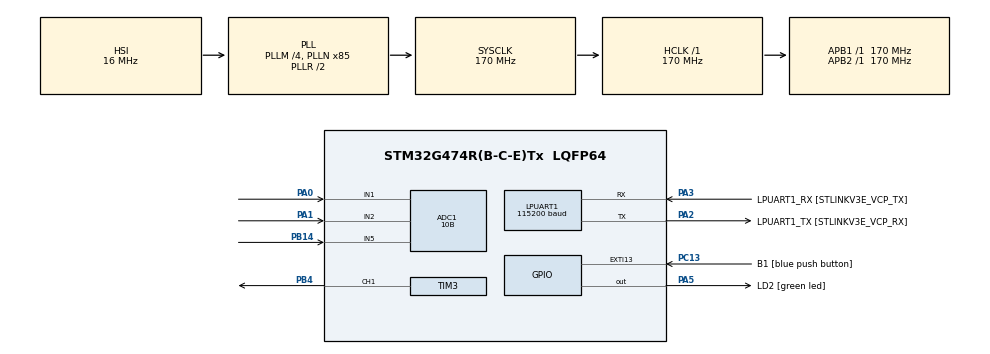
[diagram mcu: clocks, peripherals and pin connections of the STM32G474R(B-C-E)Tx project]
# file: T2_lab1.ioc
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ADC1.Channel-0\#ChannelRegularConversion=ADC_CHANNEL_1
ADC1.Channel-1\#ChannelRegularConversion=ADC_CHANNEL_2
ADC1.Channel-2\#ChannelRegularConversion=ADC_CHANNEL_5
ADC1.ClockPrescaler=ADC_CLOCK_SYNC_PCLK_DIV4
ADC1.ContinuousConvMode=ENABLE
ADC1.DMAContinuousRequests=ENABLE
ADC1.NbrOfConversion=3
ADC1.NbrOfConversionFlag=1
ADC1.OffsetNumber-0\#ChannelRegularConversion=ADC_OFFSET_NONE
ADC1.OffsetNumber-1\#ChannelRegularConversion=ADC_OFFSET_NONE
ADC1.OffsetNumber-2\#ChannelRegularConversion=ADC_OFFSET_NONE
ADC1.Rank-0\#ChannelRegularConversion=1
ADC1.Rank-1\#ChannelRegularConversion=2
ADC1.Rank-2\#ChannelRegularConversion=3
ADC1.Resolution=ADC_RESOLUTION_10B
ADC1.SamplingTime-0\#ChannelRegularConversion=ADC_SAMPLETIME_2CYCLES_5
ADC1.SamplingTime-1\#ChannelRegularConversion=ADC_SAMPLETIME_2CYCLES_5
ADC1.SamplingTime-2\#ChannelRegularConversion=ADC_SAMPLETIME_2CYCLES_5
ADC1.master=1
Dma.ADC1.0.Direction=DMA_PERIPH_TO_MEMORY
Dma.ADC1.0.EventEnable=DISABLE
Dma.ADC1.0.Instance=DMA1_Channel1
Dma.ADC1.0.MemDataAlignment=DMA_MDATAALIGN_HALFWORD
Dma.ADC1.0.MemInc=DMA_MINC_ENABLE
Dma.ADC1.0.Mode=DMA_CIRCULAR
Dma.ADC1.0.PeriphDataAlignment=DMA_PDATAALIGN_HALFWORD
Dma.ADC1.0.PeriphInc=DMA_PINC_DISABLE
Dma.ADC1.0.Polarity=HAL_DMAMUX_REQ_GEN_RISING
Dma.ADC1.0.Priority=DMA_PRIORITY_LOW
Dma.ADC1.0.RequestNumber=1
Dma.ADC1.0.SignalID=NONE
Dma.ADC1.0.SyncEnable=DISABLE
Dma.ADC1.0.SyncPolarity=HAL_DMAMUX_SYNC_NO_EVENT
Dma.ADC1.0.SyncRequestNumber=1
Dma.ADC1.0.SyncSignalID=NONE
Dma.Request0=ADC1
LPUART1.BaudRate=115200
LPUART1.WordLength=UART_WORDLENGTH_8B
Mcu.Family=STM32G4
Mcu.Name=STM32G474R(B-C-E)Tx
Mcu.Package=LQFP64
NVIC.ADC1_2_IRQn=true\:0\:0\:false\:false\:true\:true\:true\:true
NVIC.DMA1_Channel1_IRQn=true\:0\:0\:false\:false\:true\:false\:true\:true
NVIC.EXTI15_10_IRQn=true\:0\:0\:false\:false\:true\:true\:true\:true
NVIC.PriorityGroup=NVIC_PRIORITYGROUP_4
NVIC.TIM3_IRQn=true\:0\:0\:false\:false\:true\:true\:true\:true
PA0.Mode=IN1-Single-Ended
PA0.Signal=ADC1_IN1
PA1.Mode=IN2-Single-Ended
PA1.Signal=ADC1_IN2
PA13.GPIO_Label=T_SWDIO
PA13.Mode=Serial_Wire
PA13.Signal=SYS_JTMS-SWDIO
PA14.GPIO_Label=T_SWCLK
PA14.Mode=Serial_Wire
PA14.Signal=SYS_JTCK-SWCLK
PA2.GPIO_Label=LPUART1_TX [STLINKV3E_VCP_RX]
PA2.Mode=Asynchronous
PA2.Signal=LPUART1_TX
PA3.GPIO_Label=LPUART1_RX [STLINKV3E_VCP_TX]
PA3.Mode=Asynchronous
PA3.Signal=LPUART1_RX
PA5.GPIO_Label=LD2 [green led]
PA5.Signal=GPIO_Output
PB14.Mode=IN5-Single-Ended
PB14.Signal=ADC1_IN5
PB3.GPIO_Label=T_SWO
PB3.Signal=SYS_JTDO-SWO
PB4.Signal=S_TIM3_CH1
PC13.GPIO_Label=B1 [blue push button]
PC13.Signal=GPXTI13
PC14-OSC32_IN.Mode=LSE-External-Oscillator
PC14-OSC32_IN.Signal=RCC_OSC32_IN
PC15-OSC32_OUT.Mode=LSE-External-Oscillator
PC15-OSC32_OUT.Signal=RCC_OSC32_OUT
PF0-OSC_IN.Mode=HSE-External-Oscillator
PF0-OSC_IN.Signal=RCC_OSC_IN
PF1-OSC_OUT.Mode=HSE-External-Oscillator
PF1-OSC_OUT.Signal=RCC_OSC_OUT
ProjectManager.HeapSize=0x200
ProjectManager.StackSize=0x400
ProjectManager.TargetToolchain=STM32CubeIDE
RCC.ADC12Freq_Value=170000000
RCC.ADC345Freq_Value=170000000
RCC.AHBFreq_Value=170000000
RCC.APB1Freq_Value=170000000
RCC.APB1TimFreq_Value=170000000
RCC.APB2Freq_Value=170000000
RCC.APB2TimFreq_Value=170000000
RCC.CortexFreq_Value=170000000
RCC.EXTERNAL_CLOCK_VALUE=12288000
RCC.HCLKFreq_Value=170000000
RCC.HSE_VALUE=24000000
RCC.HSI48_VALUE=48000000
RCC.HSI_VALUE=16000000
RCC.PLLM=RCC_PLLM_DIV4
RCC.PLLN=85
RCC.RTCClockSelection=RCC_RTCCLKSOURCE_LSE
RCC.SYSCLKFreq_VALUE=170000000
RCC.SYSCLKSource=RCC_SYSCLKSOURCE_PLLCLK
RCC.USBFreq_Value=170000000
RCC.VCOOutputFreq_Value=340000000
SH.S_TIM3_CH1.0=TIM3_CH1,PWM Generation1 CH1
TIM2.Prescaler=169
TIM3.Channel-PWM\ Generation1\ CH1=TIM_CHANNEL_1
TIM3.PeriodNoDither=19999
TIM3.Prescaler=169
TIM3.PulseNoDither_1=2000
VP_SYS_VS_DBSignals.Mode=DisableDeadBatterySignals
VP_TIM2_VS_ClockSourceINT.Mode=Internal
VP_TIM3_VS_ClockSourceINT.Mode=Internal
board=NUCLEO-G474RE

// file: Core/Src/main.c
/* USER CODE BEGIN Header */
/**
  ******************************************************************************
  * @file           : main.c
  * @brief          : Main program body
  ******************************************************************************
  * @attention
  *
  * Copyright (c) 2024 STMicroelectronics.
  * All rights reserved.
  *
  * This software is licensed under terms that can be found in the LICENSE file
  * in the root directory of this software component.
  * If no LICENSE file comes with this software, it is provided AS-IS.
  *
  ******************************************************************************
  */
/* USER CODE END Header */
#include "main.h"

ADC_HandleTypeDef hadc1;
DMA_HandleTypeDef hdma_adc1;

UART_HandleTypeDef hlpuart1;

TIM_HandleTypeDef htim2;
TIM_HandleTypeDef htim3;

/* USER CODE BEGIN PV */
uint16_t ADC_RawRead[300]={0};
uint64_t lower = 0;
uint64_t real_time;
uint64_t sensor1;
uint64_t real_sensor1;
uint64_t sensor2;
uint64_t real_sensor2;
uint64_t sensor3;
uint64_t real_sensor3;
uint64_t timestamp = 0;
int check_case;
int map_value;
/* USER CODE END PV */

void SystemClock_Config(void);
static void MX_GPIO_Init(void);
static void MX_DMA_Init(void);
static void MX_LPUART1_UART_Init(void);
static void MX_TIM2_Init(void);
static void MX_ADC1_Init(void);
static void MX_TIM3_Init(void);

int main(void)
{

  /* MCU Configuration--------------------------------------------------------*/

  /* Reset of all peripherals, Initializes the Flash interface and the Systick. */
  HAL_Init();

  /* Configure the system clock */
  SystemClock_Config();

  /* Initialize all configured peripherals */
  MX_GPIO_Init();
  MX_DMA_Init();
  MX_LPUART1_UART_Init();
  MX_TIM2_Init();
  MX_ADC1_Init();
  MX_TIM3_Init();
  /* USER CODE BEGIN 2 */
  HAL_TIM_Base_Start_IT(&htim2);
  HAL_TIM_Base_Start(&htim3);
  HAL_TIM_PWM_Start(&htim3, TIM_CHANNEL_1);
  HAL_ADCEx_Calibration_Start(&hadc1, ADC_SINGLE_ENDED);
  HAL_ADC_Start_DMA(&hadc1, ADC_RawRead, 300);
  /* USER CODE END 2 */

  /* Infinite loop */
  /* USER CODE BEGIN WHILE */
  void micro()
   {
  	  real_time = __HAL_TIM_GET_COUNTER(&htim2) + (lower * 4294967295);

   }

  long map(long x, long in_min, long in_max, long out_min, long out_max)
  {
  return (x - in_min) * (out_max - out_min) / (in_max - in_min) + out_min;
  }

  while (1)
  {
	  micro();
  	  if (real_time - timestamp < 1000)
  	  {
  		  continue;
  	  }
	  sensor1 = 0;
	  for(int i=0;i <= 299 ;i += 3)
	  {
		  sensor1 += ADC_RawRead[i];
	  }

	  real_sensor1 = sensor1/100;

	  sensor2 = 0;
	  for(int i2=1;i2 <= 299 ;i2 += 3)
	  {
	  	  sensor2 += ADC_RawRead[i2];
	  }
	  real_sensor2 = sensor2/100;
	  sensor3 = 0;
	  for(int i3=2;i3 <= 299 ;i3 += 3)
	  {
	  	  	sensor3 += ADC_RawRead[i3];
	  }

	  real_sensor3 = sensor3/100;

	  if (real_sensor1 >= 0 && real_sensor1 <= 255)
	  {
		  __HAL_TIM_SET_COMPARE(&htim3, TIM_CHANNEL_1, 500);
		  check_case = 1;
	  }
	  else if (real_sensor1 > 255 && real_sensor1 <= 511)
	  {
		  map_value = map(real_sensor2,0,1023,500,2500);
		  __HAL_TIM_SET_COMPARE(&htim3, TIM_CHANNEL_1, map_value);
		  check_case = 2;
	  }
	  else if (real_sensor1 > 511 && real_sensor1 <= 766)
	  {
		  map_value = map(real_sensor3,0,1023,500,2500);
		  __HAL_TIM_SET_COMPARE(&htim3, TIM_CHANNEL_1, map_value);
		  check_case =3;
	  }
	  else if (real_sensor1 > 766 && real_sensor1 <= 1023)
	  	  {
		  __HAL_TIM_SET_COMPARE(&htim3, TIM_CHANNEL_1, 2500);
		  check_case = 4;
	  	  }
	  micro();
	  timestamp = real_time;
//	  HAL_Delay(1000);
    /* USER CODE END WHILE */

  }
}

void SystemClock_Config(void)
{
  RCC_OscInitTypeDef RCC_OscInitStruct = {0};
  RCC_ClkInitTypeDef RCC_ClkInitStruct = {0};

  /** Configure the main internal regulator output voltage
  */
  HAL_PWREx_ControlVoltageScaling(PWR_REGULATOR_VOLTAGE_SCALE1_BOOST);

  /** Initializes the RCC Oscillators according to the specified parameters
  * in the RCC_OscInitTypeDef structure.
  */
  RCC_OscInitStruct.OscillatorType = RCC_OSCILLATORTYPE_HSI;
  RCC_OscInitStruct.HSIState = RCC_HSI_ON;
  RCC_OscInitStruct.HSICalibrationValue = RCC_HSICALIBRATION_DEFAULT;
  RCC_OscInitStruct.PLL.PLLState = RCC_PLL_ON;
  RCC_OscInitStruct.PLL.PLLSource = RCC_PLLSOURCE_HSI;
  RCC_OscInitStruct.PLL.PLLM = RCC_PLLM_DIV4;
  RCC_OscInitStruct.PLL.PLLN = 85;
  RCC_OscInitStruct.PLL.PLLP = RCC_PLLP_DIV2;
  RCC_OscInitStruct.PLL.PLLQ = RCC_PLLQ_DIV2;
  RCC_OscInitStruct.PLL.PLLR = RCC_PLLR_DIV2;
  if (HAL_RCC_OscConfig(&RCC_OscInitStruct) != HAL_OK)
  {
    Error_Handler();
  }

  /** Initializes the CPU, AHB and APB buses clocks
  */
  RCC_ClkInitStruct.ClockType = RCC_CLOCKTYPE_HCLK|RCC_CLOCKTYPE_SYSCLK
                              |RCC_CLOCKTYPE_PCLK1|RCC_CLOCKTYPE_PCLK2;
  RCC_ClkInitStruct.SYSCLKSource = RCC_SYSCLKSOURCE_PLLCLK;
  RCC_ClkInitStruct.AHBCLKDivider = RCC_SYSCLK_DIV1;
  RCC_ClkInitStruct.APB1CLKDivider = RCC_HCLK_DIV1;
  RCC_ClkInitStruct.APB2CLKDivider = RCC_HCLK_DIV1;

  if (HAL_RCC_ClockConfig(&RCC_ClkInitStruct, FLASH_LATENCY_4) != HAL_OK)
  {
    Error_Handler();
  }
}

static void MX_ADC1_Init(void)
{

  ADC_MultiModeTypeDef multimode = {0};
  ADC_ChannelConfTypeDef sConfig = {0};

  /** Common config
  */
  hadc1.Instance = ADC1;
  hadc1.Init.ClockPrescaler = ADC_CLOCK_SYNC_PCLK_DIV4;
  hadc1.Init.Resolution = ADC_RESOLUTION_10B;
  hadc1.Init.DataAlign = ADC_DATAALIGN_RIGHT;
  hadc1.Init.GainCompensation = 0;
  hadc1.Init.ScanConvMode = ADC_SCAN_ENABLE;
  hadc1.Init.EOCSelection = ADC_EOC_SINGLE_CONV;
  hadc1.Init.LowPowerAutoWait = DISABLE;
  hadc1.Init.ContinuousConvMode = ENABLE;
  hadc1.Init.NbrOfConversion = 3;
  hadc1.Init.DiscontinuousConvMode = DISABLE;
  hadc1.Init.ExternalTrigConv = ADC_SOFTWARE_START;
  hadc1.Init.ExternalTrigConvEdge = ADC_EXTERNALTRIGCONVEDGE_NONE;
  hadc1.Init.DMAContinuousRequests = ENABLE;
  hadc1.Init.Overrun = ADC_OVR_DATA_PRESERVED;
  hadc1.Init.OversamplingMode = DISABLE;
  if (HAL_ADC_Init(&hadc1) != HAL_OK)
  {
    Error_Handler();
  }

  /** Configure the ADC multi-mode
  */
  multimode.Mode = ADC_MODE_INDEPENDENT;
  if (HAL_ADCEx_MultiModeConfigChannel(&hadc1, &multimode) != HAL_OK)
  {
    Error_Handler();
  }

  /** Configure Regular Channel
  */
  sConfig.Channel = ADC_CHANNEL_1;
  sConfig.Rank = ADC_REGULAR_RANK_1;
  sConfig.SamplingTime = ADC_SAMPLETIME_2CYCLES_5;
  sConfig.SingleDiff = ADC_SINGLE_ENDED;
  sConfig.OffsetNumber = ADC_OFFSET_NONE;
  sConfig.Offset = 0;
  if (HAL_ADC_ConfigChannel(&hadc1, &sConfig) != HAL_OK)
  {
    Error_Handler();
  }

  /** Configure Regular Channel
  */
  sConfig.Channel = ADC_CHANNEL_2;
  sConfig.Rank = ADC_REGULAR_RANK_2;
  if (HAL_ADC_ConfigChannel(&hadc1, &sConfig) != HAL_OK)
  {
    Error_Handler();
  }

  /** Configure Regular Channel
  */
  sConfig.Channel = ADC_CHANNEL_5;
  sConfig.Rank = ADC_REGULAR_RANK_3;
  if (HAL_ADC_ConfigChannel(&hadc1, &sConfig) != HAL_OK)
  {
    Error_Handler();
  }

}

static void MX_LPUART1_UART_Init(void)
{

  hlpuart1.Instance = LPUART1;
  hlpuart1.Init.BaudRate = 115200;
  hlpuart1.Init.WordLength = UART_WORDLENGTH_8B;
  hlpuart1.Init.StopBits = UART_STOPBITS_1;
  hlpuart1.Init.Parity = UART_PARITY_NONE;
  hlpuart1.Init.Mode = UART_MODE_TX_RX;
  hlpuart1.Init.HwFlowCtl = UART_HWCONTROL_NONE;
  hlpuart1.Init.OneBitSampling = UART_ONE_BIT_SAMPLE_DISABLE;
  hlpuart1.Init.ClockPrescaler = UART_PRESCALER_DIV1;
  hlpuart1.AdvancedInit.AdvFeatureInit = UART_ADVFEATURE_NO_INIT;
  if (HAL_UART_Init(&hlpuart1) != HAL_OK)
  {
    Error_Handler();
  }
  if (HAL_UARTEx_SetTxFifoThreshold(&hlpuart1, UART_TXFIFO_THRESHOLD_1_8) != HAL_OK)
  {
    Error_Handler();
  }
  if (HAL_UARTEx_SetRxFifoThreshold(&hlpuart1, UART_RXFIFO_THRESHOLD_1_8) != HAL_OK)
  {
    Error_Handler();
  }
  if (HAL_UARTEx_DisableFifoMode(&hlpuart1) != HAL_OK)
  {
    Error_Handler();
  }

}

static void MX_TIM2_Init(void)
{

  TIM_ClockConfigTypeDef sClockSourceConfig = {0};
  TIM_MasterConfigTypeDef sMasterConfig = {0};

  htim2.Instance = TIM2;
  htim2.Init.Prescaler = 169;
  htim2.Init.CounterMode = TIM_COUNTERMODE_UP;
  htim2.Init.Period = 4.294967295E9;
  htim2.Init.ClockDivision = TIM_CLOCKDIVISION_DIV1;
  htim2.Init.AutoReloadPreload = TIM_AUTORELOAD_PRELOAD_DISABLE;
  if (HAL_TIM_Base_Init(&htim2) != HAL_OK)
  {
    Error_Handler();
  }
  sClockSourceConfig.ClockSource = TIM_CLOCKSOURCE_INTERNAL;
  if (HAL_TIM_ConfigClockSource(&htim2, &sClockSourceConfig) != HAL_OK)
  {
    Error_Handler();
  }
  sMasterConfig.MasterOutputTrigger = TIM_TRGO_RESET;
  sMasterConfig.MasterSlaveMode = TIM_MASTERSLAVEMODE_DISABLE;
  if (HAL_TIMEx_MasterConfigSynchronization(&htim2, &sMasterConfig) != HAL_OK)
  {
    Error_Handler();
  }

}

static void MX_TIM3_Init(void)
{

  TIM_ClockConfigTypeDef sClockSourceConfig = {0};
  TIM_MasterConfigTypeDef sMasterConfig = {0};
  TIM_OC_InitTypeDef sConfigOC = {0};

  htim3.Instance = TIM3;
  htim3.Init.Prescaler = 169;
  htim3.Init.CounterMode = TIM_COUNTERMODE_UP;
  htim3.Init.Period = 19999;
  htim3.Init.ClockDivision = TIM_CLOCKDIVISION_DIV1;
  htim3.Init.AutoReloadPreload = TIM_AUTORELOAD_PRELOAD_DISABLE;
  if (HAL_TIM_Base_Init(&htim3) != HAL_OK)
  {
    Error_Handler();
  }
  sClockSourceConfig.ClockSource = TIM_CLOCKSOURCE_INTERNAL;
  if (HAL_TIM_ConfigClockSource(&htim3, &sClockSourceConfig) != HAL_OK)
  {
    Error_Handler();
  }
  if (HAL_TIM_PWM_Init(&htim3) != HAL_OK)
  {
    Error_Handler();
  }
  sMasterConfig.MasterOutputTrigger = TIM_TRGO_RESET;
  sMasterConfig.MasterSlaveMode = TIM_MASTERSLAVEMODE_DISABLE;
  if (HAL_TIMEx_MasterConfigSynchronization(&htim3, &sMasterConfig) != HAL_OK)
  {
    Error_Handler();
  }
  sConfigOC.OCMode = TIM_OCMODE_PWM1;
  sConfigOC.Pulse = 2000;
  sConfigOC.OCPolarity = TIM_OCPOLARITY_HIGH;
  sConfigOC.OCFastMode = TIM_OCFAST_DISABLE;
  if (HAL_TIM_PWM_ConfigChannel(&htim3, &sConfigOC, TIM_CHANNEL_1) != HAL_OK)
  {
    Error_Handler();
  }
  HAL_TIM_MspPostInit(&htim3);

}

static void MX_DMA_Init(void)
{

  /* DMA controller clock enable */
  __HAL_RCC_DMAMUX1_CLK_ENABLE();
  __HAL_RCC_DMA1_CLK_ENABLE();

  /* DMA interrupt init */
  /* DMA1_Channel1_IRQn interrupt configuration */
  HAL_NVIC_SetPriority(DMA1_Channel1_IRQn, 0, 0);
  HAL_NVIC_EnableIRQ(DMA1_Channel1_IRQn);

}

static void MX_GPIO_Init(void)
{
  GPIO_InitTypeDef GPIO_InitStruct = {0};

  /* GPIO Ports Clock Enable */
  __HAL_RCC_GPIOC_CLK_ENABLE();
  __HAL_RCC_GPIOF_CLK_ENABLE();
  __HAL_RCC_GPIOA_CLK_ENABLE();
  __HAL_RCC_GPIOB_CLK_ENABLE();

  /*Configure GPIO pin Output Level */
  HAL_GPIO_WritePin(LD2_GPIO_Port, LD2_Pin, GPIO_PIN_RESET);

  /*Configure GPIO pin : B1_Pin */
  GPIO_InitStruct.Pin = B1_Pin;
  GPIO_InitStruct.Mode = GPIO_MODE_IT_RISING;
  GPIO_InitStruct.Pull = GPIO_NOPULL;
  HAL_GPIO_Init(B1_GPIO_Port, &GPIO_InitStruct);

  /*Configure GPIO pin : LD2_Pin */
  GPIO_InitStruct.Pin = LD2_Pin;
  GPIO_InitStruct.Mode = GPIO_MODE_OUTPUT_PP;
  GPIO_InitStruct.Pull = GPIO_NOPULL;
  GPIO_InitStruct.Speed = GPIO_SPEED_FREQ_LOW;
  HAL_GPIO_Init(LD2_GPIO_Port, &GPIO_InitStruct);

  /* EXTI interrupt init*/
  HAL_NVIC_SetPriority(EXTI15_10_IRQn, 0, 0);
  HAL_NVIC_EnableIRQ(EXTI15_10_IRQn);

}

/* USER CODE BEGIN 4 */
void HAL_TIM_PeriodElapsedCallback(TIM_HandleTypeDef *htim)
{
if(htim == &htim2)
{
	lower += 1;
}
}
/* USER CODE END 4 */

void Error_Handler(void)
{
  __disable_irq();
  while (1)
  {
  }
}
